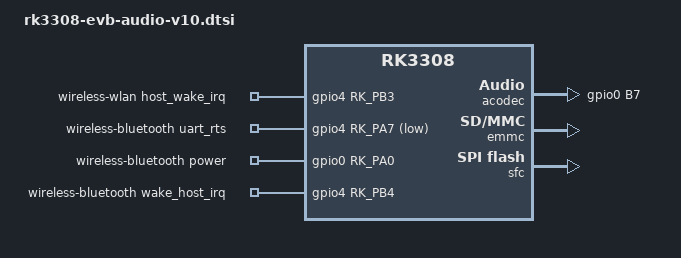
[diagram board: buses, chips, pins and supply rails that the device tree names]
// SPDX-License-Identifier: (GPL-2.0+ OR MIT)
/*
 * Copyright (c) 2023 Rockchip Electronics Co., Ltd
 */

#include <dt-bindings/input/input.h>
#include "rk3308-evb-v11.dtsi"

/ {
	/delete-node/ wireless-wlan;
	/delete-node/ wireless-bluetooth;
	/delete-node/ gpio-keys;

	wireless-wlan {
		compatible = "wlan-platdata";
		rockchip,grf = <&grf>;
		pinctrl-names = "default";
		pinctrl-0 = <&wifi_wake_host>, <&rtc_32k>;
		wifi_chip_type = "ap6256";
		WIFI,host_wake_irq = <&gpio4 RK_PB3 GPIO_ACTIVE_HIGH>;
		status = "okay";
	};

	wireless-bluetooth {
		compatible = "bluetooth-platdata";
		uart_rts_gpios = <&gpio4 RK_PA7 GPIO_ACTIVE_LOW>;
		pinctrl-names = "default", "rts_gpio";
		pinctrl-0 = <&uart4_rts>;
		pinctrl-1 = <&uart4_rts_pin>;
		BT,power_gpio    = <&gpio0 RK_PA0 GPIO_ACTIVE_HIGH>;
		BT,wake_host_irq = <&gpio4 RK_PB4 GPIO_ACTIVE_HIGH>;
		status = "okay";
	};
};

&acodec {
	pinctrl-names = "default";
	pinctrl-0 = <&hp_det>;
};

&emmc {
	status = "okay";
};

&pinctrl {
	acodec {
		hp_det: hp-det {
			rockchip,pins = <0 RK_PB7 RK_FUNC_GPIO &pcfg_input_high>;
		};
	};
};

&sfc {
	status = "okay";
};

&vccio_sd {
	gpios = <&gpio2 RK_PA3 GPIO_ACTIVE_HIGH>;
};
